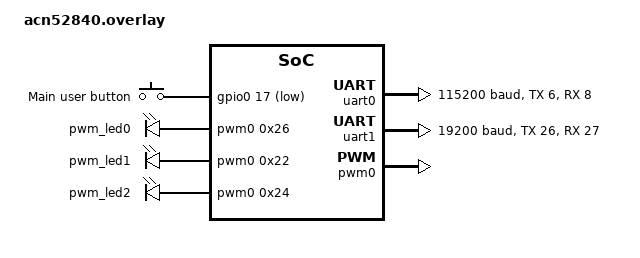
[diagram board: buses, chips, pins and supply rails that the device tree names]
/ {
	buttons {
		compatible = "gpio-keys";
		button0: button {
			gpios = <&gpio0 17 (GPIO_PULL_UP | GPIO_ACTIVE_LOW)>;
			label = "Main user button";
		};
	};

	aliases {
		ipc-uart = &uart1;

		ble-led = &pwm_led2;
		ipc-rx-led = &pwm_led1;
		ipc-tx-led = &pwm_led0;
		user-button = &button0;

		counter = &timer3;

		/* if prefer rtc2 */
		counter-alt = &rtc2;
	};

	pwmleds {
		compatible = "pwm-leds";

		pwm_led0: pwm_led_tx {
			pwms = <&pwm0 0x26>;
		};
		pwm_led1: pwm_led_rx {
			pwms = <&pwm0 0x22>;
		};
		pwm_led2: pwm_led_ble {
			pwms = <&pwm0 0x24>;
		};
	};
};

/* debug uart: default config */
&uart0 {
	compatible = "nordic,nrf-uarte";
	status = "okay";
	current-speed = <115200>;
	tx-pin = <6>;
	rx-pin = <8>;
	rx-pull-up;
	// rts-pin = <5>;
	// cts-pin = <7>;
	// cts-pull-up;
};

/* ipc uart */
&uart1 {
	compatible = "nordic,nrf-uarte";
	status = "okay";

	/* 1200, 2400, 4800, 9600, 14400, 19200, 28800, 31250, 38400, 56000, 57600, 76800, 115200, 230400, 250000, 460800, 921600, 1000000 */
	current-speed = <19200>;
	rx-pin = <27>;
	rx-pull-up;
	tx-pin = <26>;
	parity = "none";
};

&pwm0 {
	status = "okay";

	ch0-pin = <0x26>;
	ch0-inverted;

	ch1-pin = <0x22>;
	ch1-inverted;

	ch2-pin = <0x24>;
	ch2-inverted;
};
